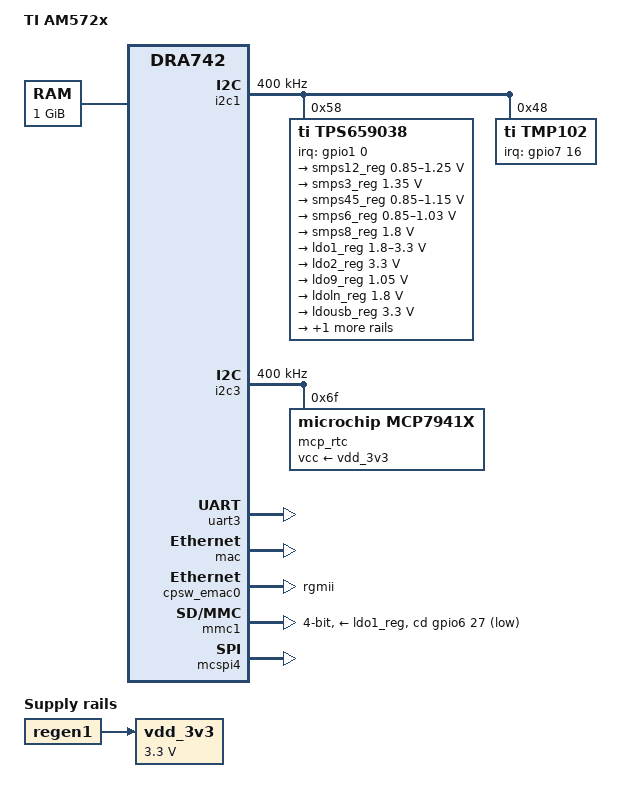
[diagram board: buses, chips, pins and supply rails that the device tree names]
/*
 * Copyright (C) 2015-2016 Texas Instruments Incorporated - http://www.ti.com/
 *
 * This program is free software; you can redistribute it and/or modify
 * it under the terms of the GNU General Public License version 2 as
 * published by the Free Software Foundation.
 */

/dts-v1/;

#include "dra74x.dtsi"
#include <dt-bindings/gpio/gpio.h>
#include <dt-bindings/interrupt-controller/irq.h>

/ {
	model = "TI AM572x";
	compatible = "ti,am5728-idk", "ti,am5728", "ti,dra742", "ti,dra74",
		     "ti,dra7";

	chosen {
		stdout-path = &uart3;
		fpga-init-dev = &mcspi4;
	};

	aliases {
		rtc0 = &mcp_rtc;
		rtc1 = &tps659038_rtc;
		rtc2 = &rtc;
	};

	memory {
		device_type = "memory";
		reg = <0x0 0x80000000 0x0 0x40000000>;
	};

  	vdd_3v3: fixedregulator-vdd_3v3 {
		compatible = "regulator-fixed";
		regulator-name = "vdd_3v3";
		vin-supply = <&regen1>;
		regulator-min-microvolt = <3300000>;
		regulator-max-microvolt = <3300000>;
	};

};

&dra7_pmx_core {
	i2c1_pins_default: i2c1_pins_default {
		pinctrl-single,pins = <
			0x400 (PIN_INPUT_PULLUP | MUX_MODE0)	/* i2c1_sda.sda */
			0x404 (PIN_INPUT_PULLUP | MUX_MODE0)	/* i2c1_scl.scl */
		>;
	};

	i2c3_pins_default: i2c3_pins_default {
		pinctrl-single,pins = <
			0x0c4 (PIN_INPUT| MUX_MODE8)	/* gpmc_advn_ale.i2c3_sda */
			0x0c0 (PIN_INPUT| MUX_MODE8)	/* gpmc_clk.i2c3_scl */
		>;
	};

	uart3_pins_default: uart3_pins_default {
		pinctrl-single,pins = <
			0x3f8 (PIN_INPUT_SLEW | MUX_MODE2) /* uart2_ctsn.uart3_rxd */
			0x3fc (PIN_INPUT_SLEW | MUX_MODE1) /* uart2_rtsn.uart3_txd */
		>;
	};

	mmc1_pins_default: mmc1_pins_default {
		pinctrl-single,pins = <
			0x36c (PIN_INPUT | MUX_MODE14)	/* mmc1sdcd.gpio219 */
			0x354 (PIN_INPUT_PULLUP | MUX_MODE0) /* mmc1_clk.clk */
			0x358 (PIN_INPUT_PULLUP | MUX_MODE0) /* mmc1_cmd.cmd */
			0x35c (PIN_INPUT_PULLUP | MUX_MODE0) /* mmc1_dat0.dat0 */
			0x360 (PIN_INPUT_PULLUP | MUX_MODE0) /* mmc1_dat1.dat1 */
			0x364 (PIN_INPUT_PULLUP | MUX_MODE0) /* mmc1_dat2.dat2 */
			0x368 (PIN_INPUT_PULLUP | MUX_MODE0) /* mmc1_dat3.dat3 */
		>;
	};

	cpsw_pins_default: cpsw_pins_default {
		pinctrl-single,pins = <
			/* Slave 1 */
			0x250 (PIN_OUTPUT | MUX_MODE0)	/* rgmii1_tclk */
			0x254 (PIN_OUTPUT | MUX_MODE0)	/* rgmii1_tctl */
			0x258 (PIN_OUTPUT | MUX_MODE0)	/* rgmii1_td3 */
			0x25c (PIN_OUTPUT | MUX_MODE0)	/* rgmii1_td2 */
			0x260 (PIN_OUTPUT | MUX_MODE0)	/* rgmii1_td1 */
			0x264 (PIN_OUTPUT | MUX_MODE0)	/* rgmii1_td0 */
			0x268 (PIN_INPUT | MUX_MODE0)	/* rgmii1_rclk */
			0x26c (PIN_INPUT | MUX_MODE0)	/* rgmii1_rctl */
			0x270 (PIN_INPUT | MUX_MODE0)	/* rgmii1_rd3 */
			0x274 (PIN_INPUT | MUX_MODE0)	/* rgmii1_rd2 */
			0x278 (PIN_INPUT | MUX_MODE0)	/* rgmii1_rd1 */
			0x27c (PIN_INPUT | MUX_MODE0)	/* rgmii1_rd0 */
		>;

	};

	cpsw_pins_sleep: cpsw_pins_sleep {
		pinctrl-single,pins = <
			/* Slave 1 */
			0x250 (PIN_INPUT | MUX_MODE15)
			0x254 (PIN_INPUT | MUX_MODE15)
			0x258 (PIN_INPUT | MUX_MODE15)
			0x25c (PIN_INPUT | MUX_MODE15)
			0x260 (PIN_INPUT | MUX_MODE15)
			0x264 (PIN_INPUT | MUX_MODE15)
			0x268 (PIN_INPUT | MUX_MODE15)
			0x26c (PIN_INPUT | MUX_MODE15)
			0x270 (PIN_INPUT | MUX_MODE15)
			0x274 (PIN_INPUT | MUX_MODE15)
			0x278 (PIN_INPUT | MUX_MODE15)
			0x27c (PIN_INPUT | MUX_MODE15)
		>;
	};

	davinci_mdio_pins_default: davinci_mdio_pins_default {
		pinctrl-single,pins = <
			/* MDIO */
			0x23c (PIN_OUTPUT_PULLUP | MUX_MODE0)	/* mdio_mclk */
			0x240 (PIN_INPUT_PULLUP | MUX_MODE0)	/* mdio_d */
		>;
	};

	davinci_mdio_pins_sleep: davinci_mdio_pins_sleep {
		pinctrl-single,pins = <
			0x23c (PIN_INPUT | MUX_MODE15)
			0x240 (PIN_INPUT | MUX_MODE15)
		>;
	};

	tps659038_pins_default: tps659038_pins_default {
		pinctrl-single,pins = <
			0x418 (PIN_INPUT_PULLUP | MUX_MODE14)	/* wakeup0.gpio1_0 */
		>;
	};

	tmp102_pins_default: tmp102_pins_default {
		pinctrl-single,pins = <
			0x3B0 (PIN_INPUT_PULLUP | MUX_MODE14)	/* spi1_cs0.gpio7_10 */
		>;
	};

	mcp79410_pins_default: mcp79410_pins_default {
		pinctrl-single,pins = <
			0x424 (PIN_INPUT_PULLUP | MUX_MODE1)	/* wakeup3.sys_nirq1 */
		>;
	};
};

&dra7_iodelay_core {
};

&i2c1 {
	status = "okay";
	pinctrl-names = "default";
	pinctrl-0 = <&i2c1_pins_default>;
	clock-frequency = <400000>;

	tps659038: tps659038@58 {
		compatible = "ti,tps659038";
		reg = <0x58>;
		interrupt-parent = <&gpio1>;
		interrupts = <0 IRQ_TYPE_LEVEL_LOW>;

		pinctrl-names = "default";
		pinctrl-0 = <&tps659038_pins_default>;

		#interrupt-cells = <2>;
		interrupt-controller;

		ti,system-power-controller;

		tps659038_pmic {
			compatible = "ti,tps659038-pmic";

			regulators {
				smps12_reg: smps12 {
					/* VDD_MPU */
					regulator-name = "smps12";
					regulator-min-microvolt = < 850000>;
					regulator-max-microvolt = <1250000>;
					regulator-always-on;
					regulator-boot-on;
				};

				smps3_reg: smps3 {
					/* VDD_DDR */
					regulator-name = "smps3";
					regulator-min-microvolt = <1350000>;
					regulator-max-microvolt = <1350000>;
					regulator-always-on;
					regulator-boot-on;
				};

				smps45_reg: smps45 {
					/* VDD_DSPEVE, VDD_IVA, VDD_GPU */
					regulator-name = "smps45";
					regulator-min-microvolt = < 850000>;
					regulator-max-microvolt = <1150000>;
					regulator-always-on;
					regulator-boot-on;
				};

				smps6_reg: smps6 {
					/* VDD_CORE */
					regulator-name = "smps6";
					regulator-min-microvolt = <850000>;
					regulator-max-microvolt = <1030000>;
					regulator-always-on;
					regulator-boot-on;
				};

				/* SMPS7 FPGA 2V5 */

				smps8_reg: smps8 {
					/* VDD_1V8 */
					regulator-name = "smps8";
					regulator-min-microvolt = <1800000>;
					regulator-max-microvolt = <1800000>;
					regulator-always-on;
					regulator-boot-on;
				};

				/* SMPS9 FPGA 1V2 */

				ldo1_reg: ldo1 {
					/* VDD_SD  */
					regulator-name = "ldo1";
					regulator-min-microvolt = <1800000>;
					regulator-max-microvolt = <3300000>;
					regulator-boot-on;
				};

				ldo2_reg: ldo2 {
					/* VDD_SHV5 */
					regulator-name = "ldo2";
					regulator-min-microvolt = <3300000>;
					regulator-max-microvolt = <3300000>;
					regulator-always-on;
					regulator-boot-on;
				};

				/* LDO3 unused */

				ldo9_reg: ldo9 {
					/* VDD_RTC */
					regulator-name = "ldo9";
					regulator-min-microvolt = <1050000>;
					regulator-max-microvolt = <1050000>;
					regulator-always-on;
					regulator-boot-on;
				};

				ldoln_reg: ldoln {
					/* VDDA_1V8_PLL */
					regulator-name = "ldoln";
					regulator-min-microvolt = <1800000>;
					regulator-max-microvolt = <1800000>;
					regulator-always-on;
					regulator-boot-on;
				};

				ldousb_reg: ldousb {
					/* VDDA_3V_USB: VDDA_USBHS33 */
					regulator-name = "ldousb";
					regulator-min-microvolt = <3300000>;
					regulator-max-microvolt = <3300000>;
					regulator-boot-on;
				};

				regen1: regen1 {
					/* VDD_3V3_ON */
					regulator-name = "regen1";
					regulator-boot-on;
					regulator-always-on;
				};
			};
		};

		tps659038_rtc: tps659038_rtc {
			compatible = "ti,palmas-rtc";
			interrupt-parent = <&tps659038>;
			interrupts = <8 IRQ_TYPE_EDGE_FALLING>;
			wakeup-source;
		};

/*		tps659038_pwr_button: tps659038_pwr_button {
			compatible = "ti,palmas-pwrbutton";
			interrupt-parent = <&tps659038>;
			interrupts = <1 IRQ_TYPE_EDGE_FALLING>;
			wakeup-source;
			ti,palmas-long-press-seconds = <12>;
		};*/

		tps659038_gpio: tps659038_gpio {
			compatible = "ti,palmas-gpio";
			gpio-controller;
			#gpio-cells = <2>;
		};
	};

	tmp102: tmp102@48 {
		compatible = "ti,tmp102";
		reg = <0x48>;
		pinctrl-names = "default";
		pinctrl-0 = <&tmp102_pins_default>;
		interrupt-parent = <&gpio7>;
		interrupts = <16 IRQ_TYPE_LEVEL_LOW>;
		#thermal-sensor-cells = <1>;
	};
};

&i2c3 {
	status = "okay";
	pinctrl-names = "default";
	pinctrl-0 = <&i2c3_pins_default>;
	clock-frequency = <400000>;

	mcp_rtc: rtc@6f {
		compatible = "microchip,mcp7941x";
		reg = <0x6f>;
		interrupts = <GIC_SPI 2 IRQ_TYPE_EDGE_RISING>;  /* IRQ_SYS_1N */

		pinctrl-names = "default";
		pinctrl-0 = <&mcp79410_pins_default>;

		vcc-supply = <&vdd_3v3>;
		wakeup-source;
	};
};

&gpio7 {
	ti,no-reset-on-init;
	ti,no-idle-on-init;
};

&cpu0 {
	cpu0-supply = <&smps12_reg>;
	voltage-tolerance = <1>;
};

&uart3 {
	status = "okay";
	interrupts-extended = <&crossbar_mpu GIC_SPI 69 IRQ_TYPE_LEVEL_HIGH>,
			      <&dra7_pmx_core 0x3f8>;

	pinctrl-names = "default";
	pinctrl-0 = <&uart3_pins_default>;
};

&mac {
	status = "okay";
	pinctrl-names = "default", "sleep";
	pinctrl-0 = <&cpsw_pins_default>;
	pinctrl-1 = <&cpsw_pins_sleep>;
	dual_emac;
};

&cpsw_emac0 {
	phy_id = <&davinci_mdio>, <1>;
	phy-mode = "rgmii";
	dual_emac_res_vlan = <1>;
};

&davinci_mdio {
	pinctrl-names = "default", "sleep";
	pinctrl-0 = <&davinci_mdio_pins_default>;
	pinctrl-1 = <&davinci_mdio_pins_sleep>;
};

&mmc1 {
	status = "okay";

	pinctrl-names = "default";
	pinctrl-0 = <&mmc1_pins_default>;

	vmmc-supply = <&ldo1_reg>;
	vmmc_aux-supply = <&vdd_3v3>;
	pbias-supply = <&pbias_mmc_reg>;
	bus-width = <4>;
	cd-gpios = <&gpio6 27 GPIO_ACTIVE_LOW>; /* gpio 219 */
};

&mcspi4 {
	status = "okay";
	ti,pindir-d0-out-d1-in = <1>;
/*	fpga-cfg@0 {
		compatible = "imago-fpga";
		spi-max-frequency = <10000000>;
		reg = <0>;
	};*/
};

&thermal_zones {
	board_thermal: board_thermal {
		polling-delay-passive = <1250>; /* milliseconds */
		polling-delay = <1500>; /* milliseconds */

				/* sensor       ID */
		thermal-sensors = <&tmp102     0>;

		board_trips: trips {
			board_crit: board_crit {
				temperature = <70000>; /* millicelsius */
				hysteresis = <0>; /* millicelsius */
				type = "critical";
			};
		};
       };
};
